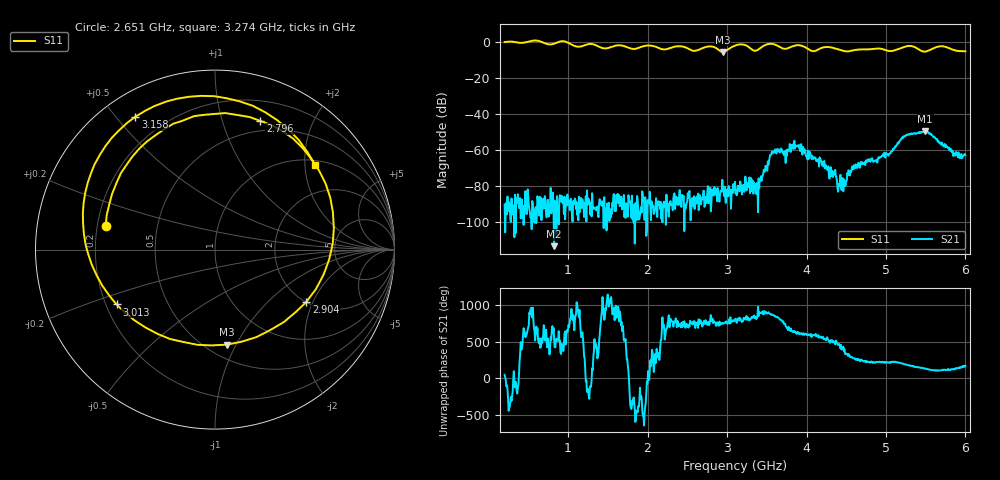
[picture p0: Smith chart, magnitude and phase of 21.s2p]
! NanoVNA-App
! Date: 2024-06-25 16:11:27
! Start: 200MHz Stop: 6GHz Points: 801
! S-Parameter data: F S11 S21 S12 S22
# Hz S RI R 50
!  Frequency  S11_Real  S11_Imag  S21_Real  S21_Imag  S12_Real  S12_Imag  S22_Real  S22_Imag
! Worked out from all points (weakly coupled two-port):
!   801 points, 200 MHz to 6 GHz, reference 50 ohm
!   highest |S21| = -49.68 dB at 5.492 GHz (marker M1); lowest = -113.6 dB at 823.5 MHz (marker M2)
!   lowest |S11| = -5.5 dB at 2.948 GHz (marker M3), VSWR 3.29, Z = 30.9 - j45.8 ohm
!   |S11| at or under -10 dB: nowhere
!   S12 and S22 are empty: the file has one direction only
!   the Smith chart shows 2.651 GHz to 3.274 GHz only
!   S11 on the Smith chart (normalised r, x): 2.651 GHz: 0.23, +0.10; 2.796 GHz: 0.39, +1.34; 2.904 GHz: 2.01, -1.79; 3.013 GHz: 0.24, -0.25; 3.158 GHz: 0.10, +0.56; 3.274 GHz: 1.13, +2.26
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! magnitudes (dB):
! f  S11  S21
! 200 MHz  0.0  -90.4
! 823.5 MHz  -0.8  -113.6
! 1.171 GHz  -2.3  -92.3
! 2.136 GHz  -3.1  -88.6
! 2.651 GHz  -4.1  -86.6
! 2.796 GHz  -2.4  -94.2
! 2.904 GHz  -4.6  -88.8
! 2.948 GHz  -5.5  -82.3
! 3.013 GHz  -4.0  -85.9
! 3.1 GHz  -1.9  -77.8
! 3.158 GHz  -1.3  -83.0
! 3.274 GHz  -2.7  -79.8
! 3.405 GHz  -3.8  -81.4
! 3.586 GHz  -1.1  -60.8
! 3.876 GHz  -1.7  -58.0
! 4.072 GHz  -5.0  -63.2
! 4.412 GHz  -4.2  -80.1
! 4.601 GHz  -4.4  -70.4
! 5.036 GHz  -4.9  -63.0
! 5.239 GHz  -2.5  -52.4
! 5.492 GHz  -5.3  -49.7
! 6 GHz  -5.1  -63.0
